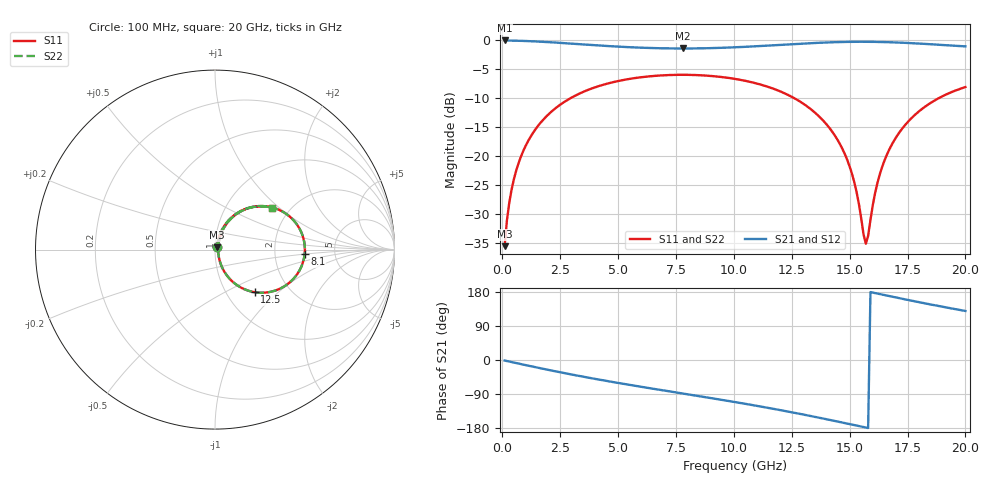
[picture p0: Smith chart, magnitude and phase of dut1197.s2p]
! Touchstone file exported from HFSS 2026.1.0
!  File:  C:/ffzhzh/LocalFiles/Ansys_Project_Files/temp_train_TSV_RDL_1197_1783317903_38820.aedt
!  Generated:  02:16:42 PM Jul  6, 2026
!  Design:  TSV_RDL
!  Project:  temp_train_TSV_RDL_1197_1783317903_38820
! Variables:
!  h_bsmrdl = 5.21um
!  h_ox = 20um
!  h_rdl = 5um
!  h_sub = 78.56um
!  h_tmrdl = 5.57um
!  h_tsv = 78.56um
!  h_via = 3um
!  l_bsmrdl = 227.46um
!  l_sub = 3852.18um
!  l_tmrdl = 659.54um
!  m_sub = 200um
!  pitch = 58.97um
!  r_tsv = 12.06um
!  s_tmrdl = 10um
!  w_bsmrdl = 14.43um
!  w_sub = 500um
!  w_tmrdl = 29.45um
!  x_tsv_center1 = 674.265um
!  x_tsv_center2 = 916.155um
!  x_tsv_center3 = 1605.145um
!  x_tsv_center4 = 1847.035um
!  x_tsv_center5 = 2536.025um
!  x_tsv_center6 = 2777.915um
# GHz S MA R 50.000000
! Terminal data exported
! Port[1] = TM_RDL1_1_T1
! Port[2] = TM_RDL5_1_T1
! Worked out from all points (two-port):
!   200 points, 100 MHz to 20 GHz, reference 50 ohm
!   highest |S21| = -0.09 dB at 100 MHz (marker M1); lowest = -1.5 dB at 7.8 GHz (marker M2)
!   |S21| within 3 dB of the highest: start of sweep to end of sweep
!   lowest |S11| = -35.5 dB at 100 MHz (marker M3), VSWR 1.03, Z = 51.1 + j1.32 ohm
!   |S11| at or under -10 dB: start of sweep to 2.961 GHz; 12.59 GHz to 18.86 GHz (6.269 GHz wide, 39.9 % of centre)
!   |S22| runs from -35.5 to -6.0 dB; largest |S21 - S12| = 5.4e-14
!   S11 on the Smith chart (normalised r, x): 100 MHz: 1.02, +0.03; 8.1 GHz: 2.98, -0.21; 12.5 GHz: 1.35, -0.71; 20 GHz: 1.61, +0.89
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0.1  0.01674 50.4  0.9896 -1.4  0.9896 -1.4  0.01674 50.4
! Gamma 0 0 0 0
! Port Impedance 50 0 50 0
0.2  0.02787 64.0  0.9887 -2.8  0.9887 -2.8  0.02787 64.0
0.4  0.05123 71.2  0.987 -5.4  0.987 -5.4  0.05123 71.2
0.7  0.08664 72.2  0.9836 -9.4  0.9836 -9.4  0.08664 72.2
1  0.1215 70.2  0.9792 -13.4  0.9792 -13.4  0.1215 70.2
2  0.2292 59.7  0.9572 -26.2  0.9572 -26.2  0.2292 59.7
3.5  0.3573 42.8  0.9144 -44.1  0.9144 -44.1  0.3573 42.8
6.8  0.4938 9.4  0.8481 -78.7  0.8481 -78.7  0.4938 9.4
7.8  0.5008 -0.1  0.8439 -88.5  0.8439 -88.5  0.5008 -0.1
8.1  0.5001 -3.0  0.8443 -91.5  0.8443 -91.5  0.5001 -3.0
10.1  0.46 -22.3  0.8649 -111.5  0.8649 -111.5  0.46 -22.3
12.5  0.3237 -47.2  0.9187 -138.0  0.9187 -138.0  0.3237 -47.1
13.4  0.2464 -56.8  0.9393 -148.8  0.9393 -148.8  0.2463 -56.7
14.3  0.1567 -65.5  0.9553 -160.1  0.9553 -160.1  0.1567 -65.4
14.9  0.0923 -68.5  0.9617 -167.8  0.9617 -167.8  0.0923 -68.4
15.3  0.04908 -63.6  0.9638 -173.0  0.9638 -173.0  0.04911 -63.5
15.7  0.01756 -1.5  0.9639 -178.2  0.9639 -178.2  0.01768 -1.5
16.2  0.05852 66.5  0.9612 175.3  0.9612 175.3  0.05857 66.4
16.7  0.1124 68.7  0.9557 168.8  0.9557 168.8  0.1124 68.6
17.3  0.1752 64.4  0.9457 161.2  0.9457 161.2  0.1753 64.4
18  0.2431 57.6  0.9305 152.5  0.9305 152.5  0.2431 57.6
20  0.3927 36.6  0.8797 129.4  0.8797 129.4  0.3927 36.6
